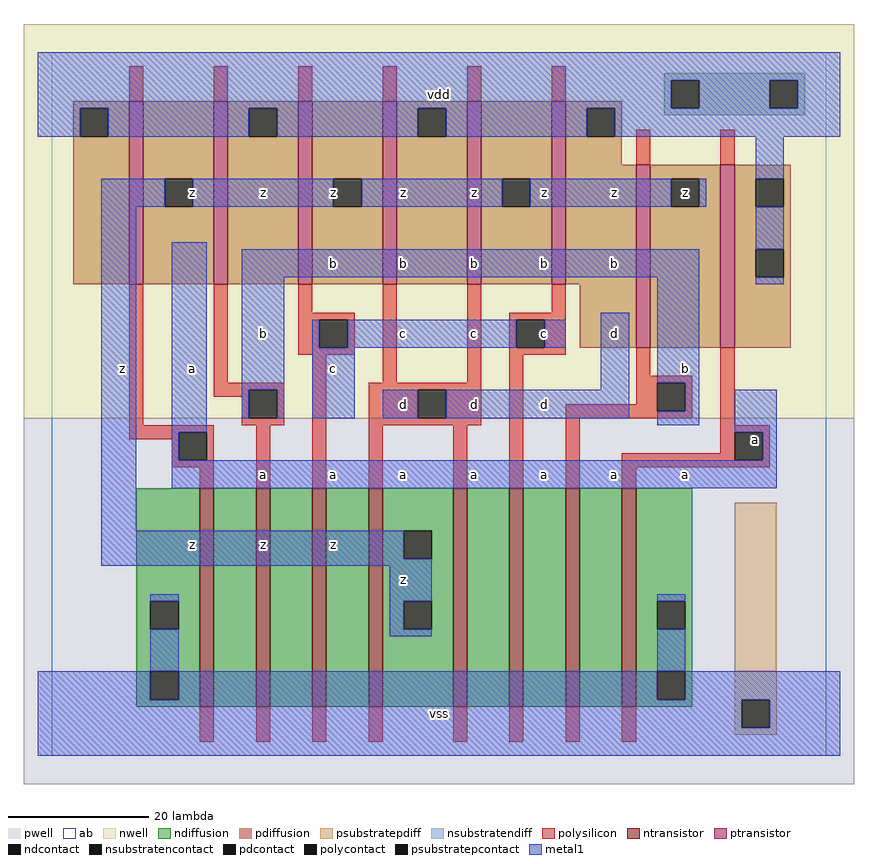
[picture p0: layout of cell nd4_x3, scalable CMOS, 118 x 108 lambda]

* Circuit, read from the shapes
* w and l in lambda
.subckt nd4_x3 a b c d vdd vss z
M1 n1 a vss vss nfet w=31 l=2
M2 n2 b n1 vss nfet w=31 l=2
M3 n3 c n2 vss nfet w=31 l=2
M4 z d n3 vss nfet w=31 l=2
M5 n4 d z vss nfet w=31 l=2
M6 n5 c n4 vss nfet w=31 l=2
M7 n6 b n5 vss nfet w=31 l=2
M8 vss a n6 vss nfet w=31 l=2
M9 z a vdd vdd pfet w=26 l=2 m=2
M10 vdd b z vdd pfet w=26 l=2 m=2
M11 z c vdd vdd pfet w=26 l=2 m=2
M12 vdd d z vdd pfet w=26 l=2 m=2
.ends

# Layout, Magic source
magic
tech scmos
<< ab >>
rect 0 0 110 100
<< pwell >>
rect -4 -4 114 48
<< nwell >>
rect -4 48 114 104
<< polysilicon >>
rect 11 93 13 98
rect 23 93 25 98
rect 35 93 37 98
rect 47 93 49 98
rect 59 93 61 98
rect 71 93 73 98
rect 83 84 85 89
rect 95 84 97 89
rect 11 47 13 67
rect 23 53 25 67
rect 35 63 37 67
rect 35 62 43 63
rect 35 58 38 62
rect 42 58 43 62
rect 35 57 43 58
rect 23 52 33 53
rect 23 51 28 52
rect 27 48 28 51
rect 32 48 33 52
rect 27 47 33 48
rect 11 46 23 47
rect 11 45 18 46
rect 17 42 18 45
rect 22 42 23 46
rect 17 41 23 42
rect 21 38 23 41
rect 29 38 31 47
rect 37 38 39 57
rect 47 53 49 67
rect 59 53 61 67
rect 71 63 73 67
rect 45 52 61 53
rect 45 48 52 52
rect 56 48 61 52
rect 45 47 61 48
rect 65 62 73 63
rect 65 58 66 62
rect 70 58 73 62
rect 65 57 73 58
rect 45 38 47 47
rect 57 38 59 47
rect 65 38 67 57
rect 83 54 85 58
rect 83 53 91 54
rect 83 50 86 53
rect 73 49 86 50
rect 90 49 91 53
rect 73 48 91 49
rect 73 38 75 48
rect 95 47 97 58
rect 95 46 102 47
rect 95 43 97 46
rect 81 42 97 43
rect 101 42 102 46
rect 81 41 102 42
rect 81 38 83 41
rect 21 2 23 7
rect 29 2 31 7
rect 37 2 39 7
rect 45 2 47 7
rect 57 2 59 7
rect 65 2 67 7
rect 73 2 75 7
rect 81 2 83 7
<< ndiffusion >>
rect 12 22 21 38
rect 12 18 14 22
rect 18 18 21 22
rect 12 12 21 18
rect 12 8 14 12
rect 18 8 21 12
rect 12 7 21 8
rect 23 7 29 38
rect 31 7 37 38
rect 39 7 45 38
rect 47 32 57 38
rect 47 28 50 32
rect 54 28 57 32
rect 47 22 57 28
rect 47 18 50 22
rect 54 18 57 22
rect 47 7 57 18
rect 59 7 65 38
rect 67 7 73 38
rect 75 7 81 38
rect 83 22 91 38
rect 83 18 86 22
rect 90 18 91 22
rect 83 12 91 18
rect 83 8 86 12
rect 90 8 91 12
rect 83 7 91 8
<< pdiffusion >>
rect 3 92 11 93
rect 3 88 4 92
rect 8 88 11 92
rect 3 67 11 88
rect 13 82 23 93
rect 13 78 16 82
rect 20 78 23 82
rect 13 67 23 78
rect 25 92 35 93
rect 25 88 28 92
rect 32 88 35 92
rect 25 67 35 88
rect 37 82 47 93
rect 37 78 40 82
rect 44 78 47 82
rect 37 67 47 78
rect 49 92 59 93
rect 49 88 52 92
rect 56 88 59 92
rect 49 67 59 88
rect 61 82 71 93
rect 61 78 64 82
rect 68 78 71 82
rect 61 67 71 78
rect 73 92 81 93
rect 73 88 76 92
rect 80 88 81 92
rect 73 84 81 88
rect 73 67 83 84
rect 75 58 83 67
rect 85 82 95 84
rect 85 78 88 82
rect 92 78 95 82
rect 85 58 95 78
rect 97 82 105 84
rect 97 78 100 82
rect 104 78 105 82
rect 97 72 105 78
rect 97 68 100 72
rect 104 68 105 72
rect 97 58 105 68
<< metal1 >>
rect -2 96 112 100
rect -2 92 88 96
rect 92 92 102 96
rect 106 92 112 96
rect -2 88 4 92
rect 8 88 28 92
rect 32 88 52 92
rect 56 88 76 92
rect 80 88 112 92
rect 100 82 104 88
rect 7 78 16 82
rect 20 78 40 82
rect 44 78 64 82
rect 68 78 88 82
rect 92 78 93 82
rect 7 32 12 78
rect 17 46 22 73
rect 100 72 104 78
rect 27 68 92 72
rect 27 52 33 68
rect 27 48 28 52
rect 32 48 33 52
rect 37 58 38 62
rect 42 58 66 62
rect 70 58 73 62
rect 37 48 43 58
rect 78 52 82 63
rect 47 48 52 52
rect 56 48 82 52
rect 86 53 92 68
rect 100 67 104 68
rect 90 49 92 53
rect 86 47 92 49
rect 17 42 18 46
rect 97 46 103 52
rect 101 42 103 46
rect 17 38 103 42
rect 7 28 50 32
rect 7 27 54 28
rect 14 22 18 23
rect 14 12 18 18
rect 48 22 54 27
rect 48 18 50 22
rect 48 17 54 18
rect 86 22 90 23
rect 86 12 90 18
rect -2 8 14 12
rect 18 8 86 12
rect 90 8 112 12
rect -2 4 98 8
rect 102 4 112 8
rect -2 0 112 4
<< ntransistor >>
rect 21 7 23 38
rect 29 7 31 38
rect 37 7 39 38
rect 45 7 47 38
rect 57 7 59 38
rect 65 7 67 38
rect 73 7 75 38
rect 81 7 83 38
<< ptransistor >>
rect 11 67 13 93
rect 23 67 25 93
rect 35 67 37 93
rect 47 67 49 93
rect 59 67 61 93
rect 71 67 73 93
rect 83 58 85 84
rect 95 58 97 84
<< polycontact >>
rect 38 58 42 62
rect 28 48 32 52
rect 18 42 22 46
rect 52 48 56 52
rect 66 58 70 62
rect 86 49 90 53
rect 97 42 101 46
<< ndcontact >>
rect 14 18 18 22
rect 14 8 18 12
rect 50 28 54 32
rect 50 18 54 22
rect 86 18 90 22
rect 86 8 90 12
<< pdcontact >>
rect 4 88 8 92
rect 16 78 20 82
rect 28 88 32 92
rect 40 78 44 82
rect 52 88 56 92
rect 64 78 68 82
rect 76 88 80 92
rect 88 78 92 82
rect 100 78 104 82
rect 100 68 104 72
<< psubstratepcontact >>
rect 98 4 102 8
<< nsubstratencontact >>
rect 88 92 92 96
rect 102 92 106 96
<< psubstratepdiff >>
rect 97 8 103 36
rect 97 4 98 8
rect 102 4 103 8
rect 97 3 103 4
<< nsubstratendiff >>
rect 87 96 107 97
rect 87 92 88 96
rect 92 92 102 96
rect 106 92 107 96
rect 87 91 107 92
<< labels >>
rlabel metal1 10 55 10 55 6 z
rlabel metal1 20 30 20 30 6 z
rlabel metal1 40 30 40 30 6 z
rlabel metal1 30 30 30 30 6 z
rlabel metal1 30 40 30 40 6 a
rlabel metal1 40 40 40 40 6 a
rlabel metal1 20 55 20 55 6 a
rlabel metal1 40 55 40 55 6 c
rlabel metal1 30 60 30 60 6 b
rlabel metal1 40 70 40 70 6 b
rlabel metal1 30 80 30 80 6 z
rlabel metal1 40 80 40 80 6 z
rlabel metal1 20 80 20 80 6 z
rlabel metal1 55 6 55 6 6 vss
rlabel metal1 50 25 50 25 6 z
rlabel metal1 50 40 50 40 6 a
rlabel metal1 60 40 60 40 6 a
rlabel metal1 50 50 50 50 6 d
rlabel metal1 60 50 60 50 6 d
rlabel metal1 60 60 60 60 6 c
rlabel metal1 50 60 50 60 6 c
rlabel metal1 50 70 50 70 6 b
rlabel metal1 60 70 60 70 6 b
rlabel metal1 50 80 50 80 6 z
rlabel metal1 60 80 60 80 6 z
rlabel metal1 55 94 55 94 6 vdd
rlabel metal1 80 40 80 40 6 a
rlabel metal1 70 40 70 40 6 a
rlabel metal1 70 50 70 50 6 d
rlabel metal1 80 60 80 60 6 d
rlabel metal1 70 60 70 60 6 c
rlabel metal1 70 70 70 70 6 b
rlabel metal1 80 70 80 70 6 b
rlabel metal1 80 80 80 80 6 z
rlabel metal1 70 80 70 80 6 z
rlabel metal1 90 40 90 40 6 a
rlabel metal1 90 55 90 55 6 b
rlabel polycontact 100 45 100 45 6 a
rlabel pdcontact 90 80 90 80 6 z
<< end >>
